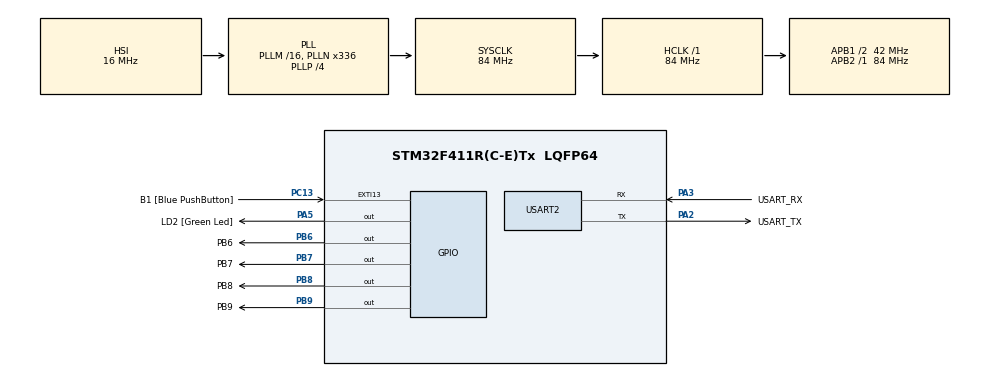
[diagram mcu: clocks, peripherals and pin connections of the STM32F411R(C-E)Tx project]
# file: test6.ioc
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Dma.Request0=USART2_RX
Dma.Request1=USART2_TX
Dma.USART2_RX.0.Direction=DMA_PERIPH_TO_MEMORY
Dma.USART2_RX.0.FIFOMode=DMA_FIFOMODE_DISABLE
Dma.USART2_RX.0.Instance=DMA1_Stream5
Dma.USART2_RX.0.MemDataAlignment=DMA_MDATAALIGN_BYTE
Dma.USART2_RX.0.MemInc=DMA_MINC_ENABLE
Dma.USART2_RX.0.Mode=DMA_NORMAL
Dma.USART2_RX.0.PeriphDataAlignment=DMA_PDATAALIGN_BYTE
Dma.USART2_RX.0.PeriphInc=DMA_PINC_DISABLE
Dma.USART2_RX.0.Priority=DMA_PRIORITY_LOW
Dma.USART2_TX.1.Direction=DMA_MEMORY_TO_PERIPH
Dma.USART2_TX.1.FIFOMode=DMA_FIFOMODE_DISABLE
Dma.USART2_TX.1.Instance=DMA1_Stream6
Dma.USART2_TX.1.MemDataAlignment=DMA_MDATAALIGN_BYTE
Dma.USART2_TX.1.MemInc=DMA_MINC_ENABLE
Dma.USART2_TX.1.Mode=DMA_NORMAL
Dma.USART2_TX.1.PeriphDataAlignment=DMA_PDATAALIGN_BYTE
Dma.USART2_TX.1.PeriphInc=DMA_PINC_DISABLE
Dma.USART2_TX.1.Priority=DMA_PRIORITY_LOW
Mcu.Family=STM32F4
Mcu.Name=STM32F411R(C-E)Tx
Mcu.Package=LQFP64
NVIC.DMA1_Stream5_IRQn=true\:0\:0\:false\:false\:true\:false\:true\:true
NVIC.DMA1_Stream6_IRQn=true\:0\:0\:false\:false\:true\:false\:true\:true
NVIC.PriorityGroup=NVIC_PRIORITYGROUP_0
NVIC.TIM1_UP_TIM10_IRQn=true\:0\:0\:false\:false\:true\:true\:true\:true
NVIC.USART2_IRQn=true\:0\:0\:false\:false\:true\:true\:true\:true
PA13.GPIO_Label=TMS
PA13.Mode=Serial_Wire
PA13.Signal=SYS_JTMS-SWDIO
PA14.GPIO_Label=TCK
PA14.Mode=Serial_Wire
PA14.Signal=SYS_JTCK-SWCLK
PA2.GPIO_Label=USART_TX
PA2.Mode=Asynchronous
PA2.Signal=USART2_TX
PA3.GPIO_Label=USART_RX
PA3.Mode=Asynchronous
PA3.Signal=USART2_RX
PA5.GPIO_Label=LD2 [Green Led]
PA5.Signal=GPIO_Output
PB3.GPIO_Label=SWO
PB3.Signal=SYS_JTDO-SWO
PB6.GPIO_Label=PB6
PB6.Signal=GPIO_Output
PB7.GPIO_Label=PB7
PB7.Signal=GPIO_Output
PB8.GPIO_Label=PB8
PB8.Signal=GPIO_Output
PB9.GPIO_Label=PB9
PB9.Signal=GPIO_Output
PC13-ANTI_TAMP.GPIO_Label=B1 [Blue PushButton]
PC13-ANTI_TAMP.GPIO_ModeDefaultEXTI=GPIO_MODE_IT_FALLING
PC13-ANTI_TAMP.Signal=GPXTI13
PC14-OSC32_IN.Mode=LSE-External-Oscillator
PC14-OSC32_IN.Signal=RCC_OSC32_IN
PC15-OSC32_OUT.Mode=LSE-External-Oscillator
PC15-OSC32_OUT.Signal=RCC_OSC32_OUT
PH0\ -\ OSC_IN.Mode=HSE-External-Clock-Source
PH0\ -\ OSC_IN.Signal=RCC_OSC_IN
PH1\ -\ OSC_OUT.Mode=HSE-External-Clock-Source
PH1\ -\ OSC_OUT.Signal=RCC_OSC_OUT
ProjectManager.HeapSize=0x200
ProjectManager.StackSize=0x400
ProjectManager.TargetToolchain=STM32CubeIDE
RCC.48MHZClocksFreq_Value=84000000
RCC.AHBFreq_Value=84000000
RCC.APB1CLKDivider=RCC_HCLK_DIV2
RCC.APB1Freq_Value=42000000
RCC.APB1TimFreq_Value=84000000
RCC.APB2Freq_Value=84000000
RCC.APB2TimFreq_Value=84000000
RCC.CortexFreq_Value=84000000
RCC.FLatency-AdvancedSettings=FLASH_LATENCY_2
RCC.HCLKFreq_Value=84000000
RCC.HSE_VALUE=8000000
RCC.HSI_VALUE=16000000
RCC.PLLN=336
RCC.PLLP=RCC_PLLP_DIV4
RCC.SYSCLKFreq_VALUE=84000000
RCC.SYSCLKSource=RCC_SYSCLKSOURCE_PLLCLK
RCC.VCOOutputFreq_Value=336000000
TIM10.Period=1667
TIM10.Prescaler=8399
USART2.VirtualMode=VM_ASYNC
VP_TIM10_VS_ClockSourceINT.Mode=Enable_Timer
board=NUCLEO-F411RE

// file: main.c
/* USER CODE BEGIN Header */
/**
  ******************************************************************************
  * @file           : main.c
  * @brief          : Main program body
  ******************************************************************************
  * @attention
  *
  * Copyright (c) 2023 STMicroelectronics.
  * All rights reserved.
  *
  * This software is licensed under terms that can be found in the LICENSE file
  * in the root directory of this software component.
  * If no LICENSE file comes with this software, it is provided AS-IS.
  *
  ******************************************************************************
  */
/* USER CODE END Header */
#include "main.h"

TIM_HandleTypeDef htim10;

UART_HandleTypeDef huart2;
DMA_HandleTypeDef hdma_usart2_rx;
DMA_HandleTypeDef hdma_usart2_tx;

/* USER CODE BEGIN PV */

// Zmienna ustawiająca tryb wyświetlania diody
// 0 - dioda wyłączona
// 1 - dioda świecąca
volatile uint8_t LED_switch = 0;

// Zmienne do obsługi kanału DMA
volatile uint8_t buffRx[100];
volatile uint8_t sizeTx = 100;
volatile uint8_t sizeRx = 4;

// Lista zapisująca kolejno znaki wysłane
// z komputera biorąc pod uwagę tylko cyfry
// oraz zmienna zapisująca rozmiar tej listy
volatile uint8_t same_number[100];
volatile uint8_t size_number = 0;

/* USER CODE END PV */

void SystemClock_Config(void);
static void MX_GPIO_Init(void);
static void MX_DMA_Init(void);
static void MX_USART2_UART_Init(void);
static void MX_TIM10_Init(void);
/* USER CODE BEGIN PFP */

// Funkcja ustawiająca stan diody poprzez wartość PinDir
void PIN_Set_Dir(GPIO_TypeDef* GPIOx, uint16_t GPIO_Pin, uint8_t PinDir)
{
	GPIO_InitTypeDef GPIO_InitStruct = {0};

	switch(PinDir)
	{
	case 0:
		GPIO_InitStruct.Pin = GPIO_Pin;
		GPIO_InitStruct.Mode = GPIO_MODE_OUTPUT_PP;
		GPIO_InitStruct.Pull = GPIO_NOPULL;
		GPIO_InitStruct.Speed = GPIO_SPEED_FREQ_LOW;
		HAL_GPIO_Init(GPIOx, &GPIO_InitStruct);
		break;

	case 1:
		GPIO_InitStruct.Pin = GPIO_Pin;
		GPIO_InitStruct.Mode = GPIO_MODE_INPUT;
		GPIO_InitStruct.Pull = GPIO_NOPULL;
		HAL_GPIO_Init(GPIOx, &GPIO_InitStruct);
		break;
	}
}

// Funkcja definiująca działanie timera
void HAL_TIM_PeriodElapsedCallback(TIM_HandleTypeDef *htim)
{
	if (htim == &htim10)
	{
		switch (LED_switch)
		{
			case 1:
			{
				PIN_Set_Dir(PB6_GPIO_Port, PB6_Pin, 1);
				PIN_Set_Dir(PB7_GPIO_Port, PB7_Pin, 0);
				PIN_Set_Dir(PB8_GPIO_Port, PB8_Pin, 1);
				PIN_Set_Dir(PB9_GPIO_Port, PB9_Pin, 0);

				HAL_GPIO_WritePin(PB6_GPIO_Port, PB9_Pin, GPIO_PIN_RESET);
				HAL_GPIO_WritePin(PB9_GPIO_Port, PB7_Pin, GPIO_PIN_SET);

				LED_switch = 0;

				break;
			}
			case 0:
			{
				HAL_GPIO_WritePin(PB6_GPIO_Port, PB9_Pin, GPIO_PIN_SET);
				HAL_GPIO_WritePin(PB9_GPIO_Port, PB7_Pin, GPIO_PIN_SET);

				LED_switch = 1;

				break;
			}
			default:
				break;
		}
	}
}

// Funkcja echo() podana w zadaniu
void HAL_UART_RxCpltCallback(UART_HandleTypeDef *huart)
{
	if (huart->Instance == USART2)
	{
		size_number = 0;

		for (uint8_t i = 0; i < sizeof(buffRx); i++)
		{
			if (buffRx[i] >= 48 && buffRx[i] <= 57)
			{
				same_number[size_number] = buffRx[i];
				size_number++;
			}
		}

		if (size_number != 0)
		{
			same_number[size_number] = '\n';
			HAL_UART_Transmit_DMA(huart, same_number, size_number + 1);
		}

		HAL_UART_Receive_DMA(huart, buffRx, sizeRx);
	}
}

//void HAL_UART_TxCpltCallback(UART_HandleTypeDef *huart)
//{
//}

/* USER CODE END PFP */

int main(void)
{

  /* MCU Configuration--------------------------------------------------------*/

  /* Reset of all peripherals, Initializes the Flash interface and the Systick. */
  HAL_Init();

  /* Configure the system clock */
  SystemClock_Config();

  /* Initialize all configured peripherals */
  MX_GPIO_Init();
  MX_DMA_Init();
  MX_USART2_UART_Init();
  MX_TIM10_Init();
  /* USER CODE BEGIN 2 */

  // Wywołanie timera
  HAL_TIM_Base_Start_IT(&htim10);

  // Wywowałanie funkcjonalności echo
  HAL_UART_Receive_DMA(&huart2, buffRx, sizeRx);

  /* USER CODE END 2 */

  /* Infinite loop */
  while (1)
  {

  }
}

void SystemClock_Config(void)
{
  RCC_OscInitTypeDef RCC_OscInitStruct = {0};
  RCC_ClkInitTypeDef RCC_ClkInitStruct = {0};

  /** Configure the main internal regulator output voltage
  */
  __HAL_RCC_PWR_CLK_ENABLE();
  __HAL_PWR_VOLTAGESCALING_CONFIG(PWR_REGULATOR_VOLTAGE_SCALE1);

  /** Initializes the RCC Oscillators according to the specified parameters
  * in the RCC_OscInitTypeDef structure.
  */
  RCC_OscInitStruct.OscillatorType = RCC_OSCILLATORTYPE_HSI;
  RCC_OscInitStruct.HSIState = RCC_HSI_ON;
  RCC_OscInitStruct.HSICalibrationValue = RCC_HSICALIBRATION_DEFAULT;
  RCC_OscInitStruct.PLL.PLLState = RCC_PLL_ON;
  RCC_OscInitStruct.PLL.PLLSource = RCC_PLLSOURCE_HSI;
  RCC_OscInitStruct.PLL.PLLM = 16;
  RCC_OscInitStruct.PLL.PLLN = 336;
  RCC_OscInitStruct.PLL.PLLP = RCC_PLLP_DIV4;
  RCC_OscInitStruct.PLL.PLLQ = 4;
  if (HAL_RCC_OscConfig(&RCC_OscInitStruct) != HAL_OK)
  {
    Error_Handler();
  }

  /** Initializes the CPU, AHB and APB buses clocks
  */
  RCC_ClkInitStruct.ClockType = RCC_CLOCKTYPE_HCLK|RCC_CLOCKTYPE_SYSCLK
                              |RCC_CLOCKTYPE_PCLK1|RCC_CLOCKTYPE_PCLK2;
  RCC_ClkInitStruct.SYSCLKSource = RCC_SYSCLKSOURCE_PLLCLK;
  RCC_ClkInitStruct.AHBCLKDivider = RCC_SYSCLK_DIV1;
  RCC_ClkInitStruct.APB1CLKDivider = RCC_HCLK_DIV2;
  RCC_ClkInitStruct.APB2CLKDivider = RCC_HCLK_DIV1;

  if (HAL_RCC_ClockConfig(&RCC_ClkInitStruct, FLASH_LATENCY_2) != HAL_OK)
  {
    Error_Handler();
  }
}

static void MX_TIM10_Init(void)
{

  htim10.Instance = TIM10;
  htim10.Init.Prescaler = 8399;
  htim10.Init.CounterMode = TIM_COUNTERMODE_UP;
  htim10.Init.Period = 1667;
  htim10.Init.ClockDivision = TIM_CLOCKDIVISION_DIV1;
  htim10.Init.AutoReloadPreload = TIM_AUTORELOAD_PRELOAD_DISABLE;
  if (HAL_TIM_Base_Init(&htim10) != HAL_OK)
  {
    Error_Handler();
  }

}

static void MX_USART2_UART_Init(void)
{

  huart2.Instance = USART2;
  huart2.Init.BaudRate = 115200;
  huart2.Init.WordLength = UART_WORDLENGTH_8B;
  huart2.Init.StopBits = UART_STOPBITS_1;
  huart2.Init.Parity = UART_PARITY_NONE;
  huart2.Init.Mode = UART_MODE_TX_RX;
  huart2.Init.HwFlowCtl = UART_HWCONTROL_NONE;
  huart2.Init.OverSampling = UART_OVERSAMPLING_16;
  if (HAL_UART_Init(&huart2) != HAL_OK)
  {
    Error_Handler();
  }

}

static void MX_DMA_Init(void)
{

  /* DMA controller clock enable */
  __HAL_RCC_DMA1_CLK_ENABLE();

  /* DMA interrupt init */
  /* DMA1_Stream5_IRQn interrupt configuration */
  HAL_NVIC_SetPriority(DMA1_Stream5_IRQn, 0, 0);
  HAL_NVIC_EnableIRQ(DMA1_Stream5_IRQn);
  /* DMA1_Stream6_IRQn interrupt configuration */
  HAL_NVIC_SetPriority(DMA1_Stream6_IRQn, 0, 0);
  HAL_NVIC_EnableIRQ(DMA1_Stream6_IRQn);

}

static void MX_GPIO_Init(void)
{
  GPIO_InitTypeDef GPIO_InitStruct = {0};

  /* GPIO Ports Clock Enable */
  __HAL_RCC_GPIOC_CLK_ENABLE();
  __HAL_RCC_GPIOH_CLK_ENABLE();
  __HAL_RCC_GPIOA_CLK_ENABLE();
  __HAL_RCC_GPIOB_CLK_ENABLE();

  /*Configure GPIO pin Output Level */
  HAL_GPIO_WritePin(LD2_GPIO_Port, LD2_Pin, GPIO_PIN_RESET);

  /*Configure GPIO pin Output Level */
  HAL_GPIO_WritePin(GPIOB, PB6_Pin|PB7_Pin|PB8_Pin|PB9_Pin, GPIO_PIN_RESET);

  /*Configure GPIO pin : B1_Pin */
  GPIO_InitStruct.Pin = B1_Pin;
  GPIO_InitStruct.Mode = GPIO_MODE_IT_FALLING;
  GPIO_InitStruct.Pull = GPIO_NOPULL;
  HAL_GPIO_Init(B1_GPIO_Port, &GPIO_InitStruct);

  /*Configure GPIO pin : LD2_Pin */
  GPIO_InitStruct.Pin = LD2_Pin;
  GPIO_InitStruct.Mode = GPIO_MODE_OUTPUT_PP;
  GPIO_InitStruct.Pull = GPIO_NOPULL;
  GPIO_InitStruct.Speed = GPIO_SPEED_FREQ_LOW;
  HAL_GPIO_Init(LD2_GPIO_Port, &GPIO_InitStruct);

  /*Configure GPIO pins : PB6_Pin PB7_Pin PB8_Pin PB9_Pin */
  GPIO_InitStruct.Pin = PB6_Pin|PB7_Pin|PB8_Pin|PB9_Pin;
  GPIO_InitStruct.Mode = GPIO_MODE_OUTPUT_PP;
  GPIO_InitStruct.Pull = GPIO_NOPULL;
  GPIO_InitStruct.Speed = GPIO_SPEED_FREQ_LOW;
  HAL_GPIO_Init(GPIOB, &GPIO_InitStruct);

}

void Error_Handler(void)
{
  __disable_irq();
  while (1)
  {
  }
}
